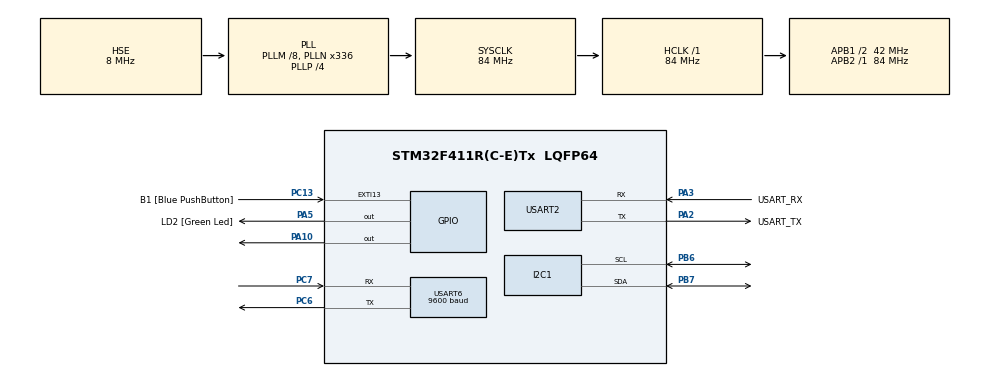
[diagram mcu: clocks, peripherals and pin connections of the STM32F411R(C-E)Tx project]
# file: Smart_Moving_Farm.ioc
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Mcu.Family=STM32F4
Mcu.Name=STM32F411R(C-E)Tx
Mcu.Package=LQFP64
NVIC.PriorityGroup=NVIC_PRIORITYGROUP_0
NVIC.USART2_IRQn=true\:0\:0\:false\:false\:true\:true\:true\:true
NVIC.USART6_IRQn=true\:0\:0\:false\:false\:true\:true\:true\:true
PA10.PinState=GPIO_PIN_SET
PA10.Signal=GPIO_Output
PA13.GPIO_Label=TMS
PA13.Mode=Serial_Wire
PA13.Signal=SYS_JTMS-SWDIO
PA14.GPIO_Label=TCK
PA14.Mode=Serial_Wire
PA14.Signal=SYS_JTCK-SWCLK
PA2.GPIO_Label=USART_TX
PA2.Mode=Asynchronous
PA2.Signal=USART2_TX
PA3.GPIO_Label=USART_RX
PA3.Mode=Asynchronous
PA3.Signal=USART2_RX
PA5.GPIO_Label=LD2 [Green Led]
PA5.Signal=GPIO_Output
PB3.GPIO_Label=SWO
PB3.Signal=SYS_JTDO-SWO
PB6.Mode=I2C
PB6.Signal=I2C1_SCL
PB7.Mode=I2C
PB7.Signal=I2C1_SDA
PC13-ANTI_TAMP.GPIO_Label=B1 [Blue PushButton]
PC13-ANTI_TAMP.GPIO_ModeDefaultEXTI=GPIO_MODE_IT_FALLING
PC13-ANTI_TAMP.Signal=GPXTI13
PC14-OSC32_IN.Mode=LSE-External-Oscillator
PC14-OSC32_IN.Signal=RCC_OSC32_IN
PC15-OSC32_OUT.Mode=LSE-External-Oscillator
PC15-OSC32_OUT.Signal=RCC_OSC32_OUT
PC6.Mode=Asynchronous
PC6.Signal=USART6_TX
PC7.Mode=Asynchronous
PC7.Signal=USART6_RX
PH0\ -\ OSC_IN.Mode=HSE-External-Clock-Source
PH0\ -\ OSC_IN.Signal=RCC_OSC_IN
PH1\ -\ OSC_OUT.Mode=HSE-External-Clock-Source
PH1\ -\ OSC_OUT.Signal=RCC_OSC_OUT
ProjectManager.HeapSize=0x200
ProjectManager.StackSize=0x400
ProjectManager.TargetToolchain=STM32CubeIDE
RCC.48MHZClocksFreq_Value=84000000
RCC.AHBFreq_Value=84000000
RCC.APB1CLKDivider=RCC_HCLK_DIV2
RCC.APB1Freq_Value=42000000
RCC.APB1TimFreq_Value=84000000
RCC.APB2Freq_Value=84000000
RCC.APB2TimFreq_Value=84000000
RCC.CortexFreq_Value=84000000
RCC.FLatency-AdvancedSettings=FLASH_LATENCY_2
RCC.HCLKFreq_Value=84000000
RCC.HSE_VALUE=8000000
RCC.HSI_VALUE=16000000
RCC.PLLM=8
RCC.PLLN=336
RCC.PLLP=RCC_PLLP_DIV4
RCC.PLLSourceVirtual=RCC_PLLSOURCE_HSE
RCC.SYSCLKFreq_VALUE=84000000
RCC.SYSCLKSource=RCC_SYSCLKSOURCE_PLLCLK
RCC.VCOOutputFreq_Value=336000000
TIM1.Period=0xffff-1
TIM1.Prescaler=72-1
USART2.VirtualMode=VM_ASYNC
USART6.BaudRate=9600
USART6.VirtualMode=VM_ASYNC
VP_TIM1_VS_ClockSourceINT.Mode=Internal
board=NUCLEO-F411RE

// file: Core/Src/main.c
/* USER CODE BEGIN Header */
/**
  ******************************************************************************
  * @file           : main.c
  * @brief          : Main program body
  ******************************************************************************
  * @attention
  *
  * Copyright (c) 2024 STMicroelectronics.
  * All rights reserved.
  *
  * This software is licensed under terms that can be found in the LICENSE file
  * in the root directory of this software component.
  * If no LICENSE file comes with this software, it is provided AS-IS.
  *
  ******************************************************************************
  */
/* USER CODE END Header */
#include "main.h"

/* USER CODE BEGIN Includes */
#include <stdio.h>
#include <string.h>
#include "i2c_lcd.h"

// DHT11모듈?�� ?��결한 ?���???��?? �???�� (PA10?�� ?��결됨)
#define DHT11_PORT GPIOA
#define DHT11_PIN GPIO_PIN_10
/* USER CODE END Includes */

/* USER CODE BEGIN PTD */
I2C_HandleTypeDef hi2c1;
TIM_HandleTypeDef htim1;
/* USER CODE END PTD */

/* USER CODE BEGIN PD */
#ifdef __GNUC__
/* With GCC, small printf (option LD Linker->Libraries->Small printf
   set to 'Yes') calls __io_putchar() */
#define PUTCHAR_PROTOTYPE int __io_putchar(int ch)
#else
#define PUTCHAR_PROTOTYPE int fputc(int ch, FILE *f)
#endif /* __GNUC__ */
#define ARR_CNT 5
#define CMD_SIZE 50
/* USER CODE END PD */

/* USER CODE BEGIN PM */
void SystemClock_Config(void);
static void MX_GPIO_Init(void);
static void MX_I2C1_Init(void);
static void MX_TIM1_Init(void);
/* USER CODE END PM */

I2C_HandleTypeDef hi2c1;

TIM_HandleTypeDef htim1;

UART_HandleTypeDef huart2;
UART_HandleTypeDef huart6;

/* USER CODE BEGIN PV */
uint8_t rx2char;
volatile unsigned char rx2Flag = 0;
volatile char rx2Data[50];
volatile unsigned char btFlag = 0;
uint8_t btchar;
char btData[50];
void bluetooth_Event();
/* USER CODE END PV */

void SystemClock_Config(void);
static void MX_GPIO_Init(void);
static void MX_USART2_UART_Init(void);
static void MX_USART6_UART_Init(void);
static void MX_TIM1_Init(void);
static void MX_I2C1_Init(void);

/* USER CODE BEGIN 0 */
//----- us단위 대기 함수
void delay_us(uint16_t time) {
	__HAL_TIM_SET_COUNTER(&htim1, 0);
	while((__HAL_TIM_GET_COUNTER(&htim1))<time);
}

//----- ?��?�� ??�?? ?��?��
int wait_pulse(int state) {
	__HAL_TIM_SET_COUNTER(&htim1, 0);
	while (HAL_GPIO_ReadPin(DHT11_PORT, DHT11_PIN) != state) {  // 설정한 상태로 변할 때까지 대기
		if(__HAL_TIM_GET_COUNTER(&htim1) >= 100) {              // 100us 안에 신호 들어오지 않으면 타임아웃으로 간주
			return 0;
		}
	}
	return 1;
}

int Temperature = 0;
int Humidity = 0;

int dht11_read (void) {
	//----- Start Signal 전송
	// 포트를 출력으로 설정
	GPIO_InitTypeDef GPIO_InitStruct = {0};
	GPIO_InitStruct.Pin = DHT11_PIN;
	GPIO_InitStruct.Mode = GPIO_MODE_OUTPUT_PP;
	GPIO_InitStruct.Speed = GPIO_SPEED_FREQ_LOW;
	HAL_GPIO_Init(DHT11_PORT, &GPIO_InitStruct);

	// Low 18ms, High 20us 펄스 생성
	HAL_GPIO_WritePin(DHT11_PORT, DHT11_PIN, 0);
	delay_us(18000);
    HAL_GPIO_WritePin(DHT11_PORT, DHT11_PIN, 1);
    delay_us(20);

	// 포트를 입력으로 설정
	GPIO_InitStruct.Mode = GPIO_MODE_INPUT;
	GPIO_InitStruct.Pull = GPIO_NOPULL;
	HAL_GPIO_Init(DHT11_PORT, &GPIO_InitStruct);

	//----- DHT11 응답 확인
	delay_us(40);
	if(!(HAL_GPIO_ReadPin(DHT11_PORT, DHT11_PIN))) {   // DHT11 응답 체크(Low)
		delay_us(80);
		if(!(HAL_GPIO_ReadPin(DHT11_PORT, DHT11_PIN))) // 80us뒤 DHT11 High 응답 없으면 timeout으로 간주
			return -1;
	}
	if(wait_pulse(GPIO_PIN_RESET) == 0) // 데이터 전송 시작 대기
		return -1; // timeout

	//----- DHT11 데이터 읽기
	uint8_t out[5], i, j;
	for(i = 0; i < 5; i++) {               // 습도 정수자리, 습도 소수자리, 온도 정수자리, 온도 소수자리, 체크섬 순으로 읽음
		for(j = 0; j < 8; j++) {           // 하나의 데이터는 8비트로 구성되며, 최상위 비트부터 하나씩 읽기 시작함
			if(!wait_pulse(GPIO_PIN_SET))  // 데이터 전송 시작까지 대기
				return -1;

			delay_us(40);  // 40us 대기 후 High상태이면 1, Low상태이면 0 수신
			if(!(HAL_GPIO_ReadPin (DHT11_PORT, DHT11_PIN)))   // Low -> 0
				out[i] &= ~(1<<(7-j));
			else                                              // High -> 1
				out[i] |= (1<<(7-j));

			if(!wait_pulse(GPIO_PIN_RESET)) // 다음 데이터 전송 시작까지 대기
				return -1;
		}
	}

	//----- 체크섬 판별
	if(out[4] != (out[0] + out[1] + out[2] + out[3]))
		return -2;

	//----- 필요 데이터 분리
	Temperature = out[2];
	Humidity = out[0];

	return 1;
}
/* USER CODE END 0 */

int main(void)
{

  /* USER CODE BEGIN 1 */
	  HAL_Init();
	  SystemClock_Config();
	  MX_GPIO_Init();
	  MX_I2C1_Init();
	  MX_TIM1_Init();

	  // LCD 초기화
	  lcd_init();

	  // LCD에 문자 출력
	  lcd_clear();
	  lcd_put_cur(0, 0);
	  lcd_send_string("Hello, STM32!");
	  HAL_Delay(2000); // 2000ms
	  lcd_clear();

  /* USER CODE END 1 */

  /* MCU Configuration--------------------------------------------------------*/

  /* Reset of all peripherals, Initializes the Flash interface and the Systick. */
  HAL_Init();

  /* Configure the system clock */
  SystemClock_Config();

  /* Initialize all configured peripherals */
  MX_GPIO_Init();
  MX_USART2_UART_Init();
  MX_USART6_UART_Init();
  MX_TIM1_Init();
  MX_I2C1_Init();
  /* USER CODE BEGIN 2 */
  HAL_UART_Receive_IT(&huart2, &rx2char,1);
  HAL_UART_Receive_IT(&huart6, &btchar,1);
  printf("start main2()\r\n");

  HAL_TIM_Base_Start(&htim1);	// delay_ms() 함수를 위한 타이머 시작
//  uint8_t buffer[256];        // UART 전송을 위한 데이터 버퍼 선언
//  char buf[10] = "Hello\r";
  /* USER CODE END 2 */

  /* Infinite loop */
  /* USER CODE BEGIN WHILE */
  while (1)
  {

	if(dht11_read() == 1) { // 데이터가 정상적으로 수신된 경우
		static char buffer[50];
		snprintf(buffer, sizeof(buffer), "[MJB_SQL]SENSOR@%d@%d\n", Temperature, Humidity);
		HAL_UART_Transmit_IT(&huart6, (uint8_t *)buffer, strlen(buffer));
		lcd_put_cur(0, 0);
		lcd_send_string("Temp: ");
		char temp_str[5];
		sprintf(temp_str, "%d", Temperature);
		lcd_send_string(temp_str);
		lcd_send_string("C");
		HAL_UART_Transmit(&huart2, buffer, strlen(buffer), 100);

		lcd_put_cur(1, 0);
		lcd_send_string("Humidity: ");
		char hum_str[5];
		sprintf(hum_str, "%d", Humidity);
		lcd_send_string(hum_str);
		lcd_send_string("%");

		HAL_Delay(2000);
	}

	if(rx2Flag)
	{
		printf("recv2 : %s\r\n",rx2Data);
		rx2Flag =0;
		    //HAL_UART_Transmit(&huart6, (uint8_t *)buffer, strlen(buffer), 0xFFFF);
	}
	if(btFlag)
	{
//		printf("bt : %s\r\n",btData);
		btFlag =0;
		bluetooth_Event();
	}
//	  HAL_GPIO_TogglePin(GPIOC, GPIO_PIN_13);
//	  HAL_Delay(500);
    /* USER CODE END WHILE */

  }
}

void SystemClock_Config(void)
{
  RCC_OscInitTypeDef RCC_OscInitStruct = {0};
  RCC_ClkInitTypeDef RCC_ClkInitStruct = {0};

  /** Configure the main internal regulator output voltage
  */
  __HAL_RCC_PWR_CLK_ENABLE();
  __HAL_PWR_VOLTAGESCALING_CONFIG(PWR_REGULATOR_VOLTAGE_SCALE1);

  /** Initializes the RCC Oscillators according to the specified parameters
  * in the RCC_OscInitTypeDef structure.
  */
  RCC_OscInitStruct.OscillatorType = RCC_OSCILLATORTYPE_HSE;
  RCC_OscInitStruct.HSEState = RCC_HSE_BYPASS;
  RCC_OscInitStruct.PLL.PLLState = RCC_PLL_ON;
  RCC_OscInitStruct.PLL.PLLSource = RCC_PLLSOURCE_HSE;
  RCC_OscInitStruct.PLL.PLLM = 8;
  RCC_OscInitStruct.PLL.PLLN = 336;
  RCC_OscInitStruct.PLL.PLLP = RCC_PLLP_DIV4;
  RCC_OscInitStruct.PLL.PLLQ = 4;
  if (HAL_RCC_OscConfig(&RCC_OscInitStruct) != HAL_OK)
  {
    Error_Handler();
  }

  /** Initializes the CPU, AHB and APB buses clocks
  */
  RCC_ClkInitStruct.ClockType = RCC_CLOCKTYPE_HCLK|RCC_CLOCKTYPE_SYSCLK
                              |RCC_CLOCKTYPE_PCLK1|RCC_CLOCKTYPE_PCLK2;
  RCC_ClkInitStruct.SYSCLKSource = RCC_SYSCLKSOURCE_PLLCLK;
  RCC_ClkInitStruct.AHBCLKDivider = RCC_SYSCLK_DIV1;
  RCC_ClkInitStruct.APB1CLKDivider = RCC_HCLK_DIV2;
  RCC_ClkInitStruct.APB2CLKDivider = RCC_HCLK_DIV1;

  if (HAL_RCC_ClockConfig(&RCC_ClkInitStruct, FLASH_LATENCY_2) != HAL_OK)
  {
    Error_Handler();
  }
}

static void MX_I2C1_Init(void)
{

  hi2c1.Instance = I2C1;
  hi2c1.Init.ClockSpeed = 100000;
  hi2c1.Init.DutyCycle = I2C_DUTYCYCLE_2;
  hi2c1.Init.OwnAddress1 = 0;
  hi2c1.Init.AddressingMode = I2C_ADDRESSINGMODE_7BIT;
  hi2c1.Init.DualAddressMode = I2C_DUALADDRESS_DISABLE;
  hi2c1.Init.OwnAddress2 = 0;
  hi2c1.Init.GeneralCallMode = I2C_GENERALCALL_DISABLE;
  hi2c1.Init.NoStretchMode = I2C_NOSTRETCH_DISABLE;
  if (HAL_I2C_Init(&hi2c1) != HAL_OK)
  {
    Error_Handler();
  }

}

static void MX_TIM1_Init(void)
{

  TIM_ClockConfigTypeDef sClockSourceConfig = {0};
  TIM_MasterConfigTypeDef sMasterConfig = {0};

  htim1.Instance = TIM1;
  htim1.Init.Prescaler = 72-1;
  htim1.Init.CounterMode = TIM_COUNTERMODE_UP;
  htim1.Init.Period = 0xffff-1;
  htim1.Init.ClockDivision = TIM_CLOCKDIVISION_DIV1;
  htim1.Init.RepetitionCounter = 0;
  htim1.Init.AutoReloadPreload = TIM_AUTORELOAD_PRELOAD_DISABLE;
  if (HAL_TIM_Base_Init(&htim1) != HAL_OK)
  {
    Error_Handler();
  }
  sClockSourceConfig.ClockSource = TIM_CLOCKSOURCE_INTERNAL;
  if (HAL_TIM_ConfigClockSource(&htim1, &sClockSourceConfig) != HAL_OK)
  {
    Error_Handler();
  }
  sMasterConfig.MasterOutputTrigger = TIM_TRGO_RESET;
  sMasterConfig.MasterSlaveMode = TIM_MASTERSLAVEMODE_DISABLE;
  if (HAL_TIMEx_MasterConfigSynchronization(&htim1, &sMasterConfig) != HAL_OK)
  {
    Error_Handler();
  }

}

static void MX_USART2_UART_Init(void)
{

  huart2.Instance = USART2;
  huart2.Init.BaudRate = 115200;
  huart2.Init.WordLength = UART_WORDLENGTH_8B;
  huart2.Init.StopBits = UART_STOPBITS_1;
  huart2.Init.Parity = UART_PARITY_NONE;
  huart2.Init.Mode = UART_MODE_TX_RX;
  huart2.Init.HwFlowCtl = UART_HWCONTROL_NONE;
  huart2.Init.OverSampling = UART_OVERSAMPLING_16;
  if (HAL_UART_Init(&huart2) != HAL_OK)
  {
    Error_Handler();
  }

}

static void MX_USART6_UART_Init(void)
{

  huart6.Instance = USART6;
  huart6.Init.BaudRate = 9600;
  huart6.Init.WordLength = UART_WORDLENGTH_8B;
  huart6.Init.StopBits = UART_STOPBITS_1;
  huart6.Init.Parity = UART_PARITY_NONE;
  huart6.Init.Mode = UART_MODE_TX_RX;
  huart6.Init.HwFlowCtl = UART_HWCONTROL_NONE;
  huart6.Init.OverSampling = UART_OVERSAMPLING_16;
  if (HAL_UART_Init(&huart6) != HAL_OK)
  {
    Error_Handler();
  }

}

static void MX_GPIO_Init(void)
{
  GPIO_InitTypeDef GPIO_InitStruct = {0};

  /* GPIO Ports Clock Enable */
  __HAL_RCC_GPIOC_CLK_ENABLE();
  __HAL_RCC_GPIOH_CLK_ENABLE();
  __HAL_RCC_GPIOA_CLK_ENABLE();
  __HAL_RCC_GPIOB_CLK_ENABLE();

  /*Configure GPIO pin Output Level */
  HAL_GPIO_WritePin(LD2_GPIO_Port, LD2_Pin, GPIO_PIN_RESET);

  /*Configure GPIO pin Output Level */
  HAL_GPIO_WritePin(GPIOA, GPIO_PIN_10, GPIO_PIN_SET);

  /*Configure GPIO pin : B1_Pin */
  GPIO_InitStruct.Pin = B1_Pin;
  GPIO_InitStruct.Mode = GPIO_MODE_IT_FALLING;
  GPIO_InitStruct.Pull = GPIO_NOPULL;
  HAL_GPIO_Init(B1_GPIO_Port, &GPIO_InitStruct);

  /*Configure GPIO pins : LD2_Pin PA10 */
  GPIO_InitStruct.Pin = LD2_Pin|GPIO_PIN_10;
  GPIO_InitStruct.Mode = GPIO_MODE_OUTPUT_PP;
  GPIO_InitStruct.Pull = GPIO_NOPULL;
  GPIO_InitStruct.Speed = GPIO_SPEED_FREQ_LOW;
  HAL_GPIO_Init(GPIOA, &GPIO_InitStruct);

}

/* USER CODE BEGIN 4 */
void MX_GPIO_LED_ON(int pin)
{
	HAL_GPIO_WritePin(LD2_GPIO_Port, pin, GPIO_PIN_SET);
}
void MX_GPIO_LED_OFF(int pin)
{
	HAL_GPIO_WritePin(LD2_GPIO_Port, pin, GPIO_PIN_RESET);
}
void bluetooth_Event()
{

  int i=0;
  char * pToken;
  char * pArray[ARR_CNT]={0};
  char recvBuf[CMD_SIZE]={0};
  char sendBuf[CMD_SIZE]={0};
  strcpy(recvBuf,btData);

  printf("btData : %s\r\n",btData);

  pToken = strtok(recvBuf,"[@]");
  while(pToken != NULL)
  {
    pArray[i] =  pToken;
    if(++i >= ARR_CNT)
      break;
    pToken = strtok(NULL,"[@]");
  }
//  printf("pArray[0] : %s\r\n",pArray[0]);
//  printf("pArray[1] : %s\r\n",pArray[1]);
//  printf("pArray[2] : %s\r\n",pArray[2]);

  if(!strcmp(pArray[1],"LED"))
  {
		if(!strcmp(pArray[2],"ON"))
		{
			MX_GPIO_LED_ON(LD2_Pin);
		}
		else if(!strcmp(pArray[2],"OFF"))
		{
			MX_GPIO_LED_OFF(LD2_Pin);
		}
  }
  else if(!strncmp(pArray[1]," New conn",sizeof(" New conn")))
  {
      return;
  }
  else if(!strncmp(pArray[1]," Already log",sizeof(" Already log")))
  {
      return;
  }
  else
      return;

  sprintf(sendBuf,"[%s]%s@%s\n",pArray[0],pArray[1],pArray[2]);
  HAL_UART_Transmit(&huart6, (uint8_t *)sendBuf, strlen(sendBuf), 0xFFFF);

}
/**
  * @brief  Retargets the C library printf function to the USART.
  * @param  None
  * @retval None
  */
PUTCHAR_PROTOTYPE
{
  /* Place your implementation of fputc here */
  /* e.g. write a character to the USART6 and Loop until the end of transmission */
  HAL_UART_Transmit(&huart2, (uint8_t *)&ch, 1, 0xFFFF);

  return ch;
}
void HAL_UART_RxCpltCallback(UART_HandleTypeDef *huart)
{
    if(huart->Instance == USART2)
    {
    	static int i=0;
    	rx2Data[i] = rx2char;
    	if((rx2Data[i] == '\r')||(btData[i] == '\n'))
    	{
    		rx2Data[i] = '\0';
    		rx2Flag = 1;
    		i = 0;
    	}
    	else
    	{
    		i++;
    	}
    	HAL_UART_Receive_IT(&huart2, &rx2char,1);
    }
    if(huart->Instance == USART6)
    {
    	static int i=0;
    	btData[i] = btchar;
    	if((btData[i] == '\n') || btData[i] == '\r')
    	{
    		btData[i] = '\0';
    		btFlag = 1;
    		i = 0;
    	}
    	else
    	{
    		i++;
    	}
    	HAL_UART_Receive_IT(&huart6, &btchar,1);
    }
}
/* USER CODE END 4 */

void Error_Handler(void)
{
  __disable_irq();
  while (1)
  {
  }
}
